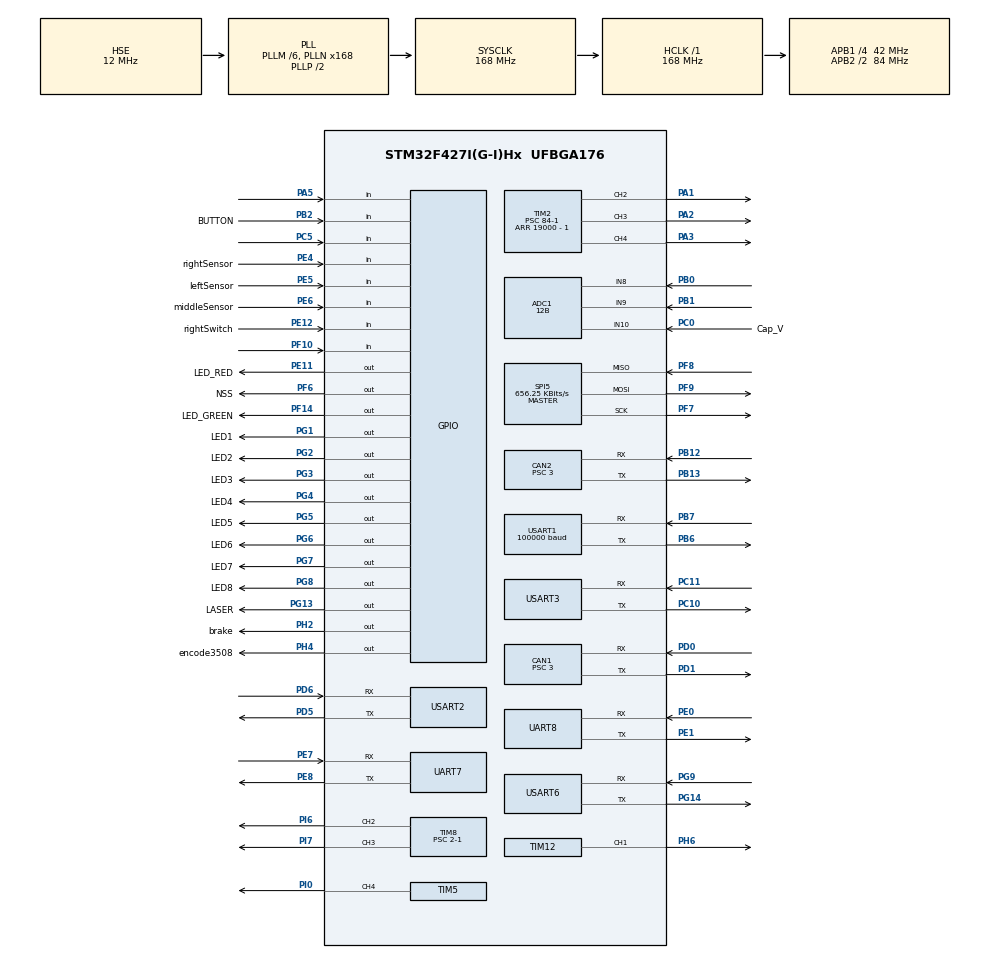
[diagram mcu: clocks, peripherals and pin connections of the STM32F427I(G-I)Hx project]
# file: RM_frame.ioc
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ADC1.Channel-0\#ChannelRegularConversion=ADC_CHANNEL_VREFINT
ADC1.Channel-1\#ChannelRegularConversion=ADC_CHANNEL_8
ADC1.Channel-2\#ChannelRegularConversion=ADC_CHANNEL_9
ADC1.Channel-3\#ChannelRegularConversion=ADC_CHANNEL_10
ADC1.ClockPrescaler=ADC_CLOCK_SYNC_PCLK_DIV4
ADC1.ContinuousConvMode=ENABLE
ADC1.DMAContinuousRequests=ENABLE
ADC1.DataAlign=ADC_DATAALIGN_RIGHT
ADC1.DiscontinuousConvMode=DISABLE
ADC1.EOCSelection=ADC_EOC_SINGLE_CONV
ADC1.EnableAnalogWatchDog=false
ADC1.ExternalTrigConv=ADC_SOFTWARE_START
ADC1.ExternalTrigConvEdge=ADC_EXTERNALTRIGCONVEDGE_NONE
ADC1.InjNumberOfConversion=0
ADC1.NbrOfConversion=4
ADC1.NbrOfConversionFlag=1
ADC1.Rank-0\#ChannelRegularConversion=1
ADC1.Rank-1\#ChannelRegularConversion=2
ADC1.Rank-2\#ChannelRegularConversion=3
ADC1.Rank-3\#ChannelRegularConversion=4
ADC1.Resolution=ADC_RESOLUTION_12B
ADC1.SamplingTime-0\#ChannelRegularConversion=ADC_SAMPLETIME_56CYCLES
ADC1.SamplingTime-1\#ChannelRegularConversion=ADC_SAMPLETIME_56CYCLES
ADC1.SamplingTime-2\#ChannelRegularConversion=ADC_SAMPLETIME_56CYCLES
ADC1.SamplingTime-3\#ChannelRegularConversion=ADC_SAMPLETIME_56CYCLES
ADC1.ScanConvMode=ENABLE
ADC1.master=1
CAN1.BS1=CAN_BS1_9TQ
CAN1.BS2=CAN_BS2_4TQ
CAN1.CalculateTimeBit=1000
CAN1.CalculateTimeQuantum=71.42857142857143
CAN1.Prescaler=3
CAN2.BS1=CAN_BS1_9TQ
CAN2.BS2=CAN_BS2_4TQ
CAN2.CalculateTimeBit=1000
CAN2.CalculateTimeQuantum=71.42857142857143
CAN2.Prescaler=3
Dma.ADC1.8.Direction=DMA_PERIPH_TO_MEMORY
Dma.ADC1.8.FIFOMode=DMA_FIFOMODE_DISABLE
Dma.ADC1.8.Instance=DMA2_Stream0
Dma.ADC1.8.MemDataAlignment=DMA_MDATAALIGN_WORD
Dma.ADC1.8.MemInc=DMA_MINC_ENABLE
Dma.ADC1.8.Mode=DMA_CIRCULAR
Dma.ADC1.8.PeriphDataAlignment=DMA_PDATAALIGN_WORD
Dma.ADC1.8.PeriphInc=DMA_PINC_DISABLE
Dma.ADC1.8.Priority=DMA_PRIORITY_LOW
Dma.Request0=USART6_RX
Dma.Request1=USART6_TX
Dma.Request2=USART3_RX
Dma.Request3=USART2_RX
Dma.Request4=USART1_RX
Dma.Request5=UART8_RX
Dma.Request6=UART8_TX
Dma.Request7=UART7_RX
Dma.Request8=ADC1
Dma.UART7_RX.7.Direction=DMA_PERIPH_TO_MEMORY
Dma.UART7_RX.7.FIFOMode=DMA_FIFOMODE_DISABLE
Dma.UART7_RX.7.Instance=DMA1_Stream3
Dma.UART7_RX.7.MemDataAlignment=DMA_MDATAALIGN_BYTE
Dma.UART7_RX.7.MemInc=DMA_MINC_ENABLE
Dma.UART7_RX.7.Mode=DMA_NORMAL
Dma.UART7_RX.7.PeriphDataAlignment=DMA_PDATAALIGN_BYTE
Dma.UART7_RX.7.PeriphInc=DMA_PINC_DISABLE
Dma.UART7_RX.7.Priority=DMA_PRIORITY_LOW
Dma.UART8_RX.5.Direction=DMA_PERIPH_TO_MEMORY
Dma.UART8_RX.5.FIFOMode=DMA_FIFOMODE_DISABLE
Dma.UART8_RX.5.Instance=DMA1_Stream6
Dma.UART8_RX.5.MemDataAlignment=DMA_MDATAALIGN_BYTE
Dma.UART8_RX.5.MemInc=DMA_MINC_ENABLE
Dma.UART8_RX.5.Mode=DMA_NORMAL
Dma.UART8_RX.5.PeriphDataAlignment=DMA_PDATAALIGN_BYTE
Dma.UART8_RX.5.PeriphInc=DMA_PINC_DISABLE
Dma.UART8_RX.5.Priority=DMA_PRIORITY_LOW
Dma.UART8_TX.6.Direction=DMA_MEMORY_TO_PERIPH
Dma.UART8_TX.6.FIFOMode=DMA_FIFOMODE_DISABLE
Dma.UART8_TX.6.Instance=DMA1_Stream0
Dma.UART8_TX.6.MemDataAlignment=DMA_MDATAALIGN_BYTE
Dma.UART8_TX.6.MemInc=DMA_MINC_ENABLE
Dma.UART8_TX.6.Mode=DMA_NORMAL
Dma.UART8_TX.6.PeriphDataAlignment=DMA_PDATAALIGN_BYTE
Dma.UART8_TX.6.PeriphInc=DMA_PINC_DISABLE
Dma.UART8_TX.6.Priority=DMA_PRIORITY_LOW
Dma.USART1_RX.4.Direction=DMA_PERIPH_TO_MEMORY
Dma.USART1_RX.4.FIFOMode=DMA_FIFOMODE_DISABLE
Dma.USART1_RX.4.Instance=DMA2_Stream2
Dma.USART1_RX.4.MemDataAlignment=DMA_MDATAALIGN_BYTE
Dma.USART1_RX.4.MemInc=DMA_MINC_ENABLE
Dma.USART1_RX.4.Mode=DMA_NORMAL
Dma.USART1_RX.4.PeriphDataAlignment=DMA_PDATAALIGN_BYTE
Dma.USART1_RX.4.PeriphInc=DMA_PINC_DISABLE
Dma.USART1_RX.4.Priority=DMA_PRIORITY_LOW
Dma.USART2_RX.3.Direction=DMA_PERIPH_TO_MEMORY
Dma.USART2_RX.3.FIFOMode=DMA_FIFOMODE_DISABLE
Dma.USART2_RX.3.Instance=DMA1_Stream5
Dma.USART2_RX.3.MemDataAlignment=DMA_MDATAALIGN_BYTE
Dma.USART2_RX.3.MemInc=DMA_MINC_ENABLE
Dma.USART2_RX.3.Mode=DMA_NORMAL
Dma.USART2_RX.3.PeriphDataAlignment=DMA_PDATAALIGN_BYTE
Dma.USART2_RX.3.PeriphInc=DMA_PINC_DISABLE
Dma.USART2_RX.3.Priority=DMA_PRIORITY_LOW
Dma.USART3_RX.2.Direction=DMA_PERIPH_TO_MEMORY
Dma.USART3_RX.2.FIFOMode=DMA_FIFOMODE_DISABLE
Dma.USART3_RX.2.Instance=DMA1_Stream1
Dma.USART3_RX.2.MemDataAlignment=DMA_MDATAALIGN_BYTE
Dma.USART3_RX.2.MemInc=DMA_MINC_ENABLE
Dma.USART3_RX.2.Mode=DMA_NORMAL
Dma.USART3_RX.2.PeriphDataAlignment=DMA_PDATAALIGN_BYTE
Dma.USART3_RX.2.PeriphInc=DMA_PINC_DISABLE
Dma.USART3_RX.2.Priority=DMA_PRIORITY_LOW
Dma.USART6_RX.0.Direction=DMA_PERIPH_TO_MEMORY
Dma.USART6_RX.0.FIFOMode=DMA_FIFOMODE_DISABLE
Dma.USART6_RX.0.Instance=DMA2_Stream1
Dma.USART6_RX.0.MemDataAlignment=DMA_MDATAALIGN_BYTE
Dma.USART6_RX.0.MemInc=DMA_MINC_ENABLE
Dma.USART6_RX.0.Mode=DMA_NORMAL
Dma.USART6_RX.0.PeriphDataAlignment=DMA_PDATAALIGN_BYTE
Dma.USART6_RX.0.PeriphInc=DMA_PINC_DISABLE
Dma.USART6_RX.0.Priority=DMA_PRIORITY_LOW
Dma.USART6_TX.1.Direction=DMA_MEMORY_TO_PERIPH
Dma.USART6_TX.1.FIFOMode=DMA_FIFOMODE_DISABLE
Dma.USART6_TX.1.Instance=DMA2_Stream6
Dma.USART6_TX.1.MemDataAlignment=DMA_MDATAALIGN_BYTE
Dma.USART6_TX.1.MemInc=DMA_MINC_ENABLE
Dma.USART6_TX.1.Mode=DMA_NORMAL
Dma.USART6_TX.1.PeriphDataAlignment=DMA_PDATAALIGN_BYTE
Dma.USART6_TX.1.PeriphInc=DMA_PINC_DISABLE
Dma.USART6_TX.1.Priority=DMA_PRIORITY_LOW
IWDG.Prescaler=IWDG_PRESCALER_32
IWDG.Reload=300
Mcu.Family=STM32F4
Mcu.Name=STM32F427I(G-I)Hx
Mcu.Package=UFBGA176
NVIC.CAN1_RX0_IRQn=true\:0\:0\:true\:false\:true\:true
NVIC.CAN1_TX_IRQn=true\:0\:0\:true\:false\:true\:true
NVIC.CAN2_RX0_IRQn=true\:1\:0\:true\:false\:true\:true
NVIC.CAN2_TX_IRQn=true\:2\:0\:true\:false\:true\:true
NVIC.DMA1_Stream0_IRQn=true\:0\:0\:false\:false\:true\:false
NVIC.DMA1_Stream1_IRQn=true\:0\:0\:false\:false\:true\:false
NVIC.DMA1_Stream3_IRQn=true\:0\:0\:false\:false\:true\:false
NVIC.DMA1_Stream5_IRQn=true\:0\:0\:false\:false\:true\:false
NVIC.DMA1_Stream6_IRQn=true\:0\:0\:false\:false\:true\:false
NVIC.DMA2_Stream0_IRQn=true\:0\:0\:false\:false\:true\:false
NVIC.DMA2_Stream1_IRQn=true\:0\:0\:false\:false\:true\:false
NVIC.DMA2_Stream2_IRQn=true\:0\:0\:false\:false\:true\:false
NVIC.DMA2_Stream6_IRQn=true\:0\:0\:false\:false\:true\:false
NVIC.PriorityGroup=NVIC_PRIORITYGROUP_4
NVIC.TIM1_UP_TIM10_IRQn=true\:4\:0\:true\:false\:true\:true
NVIC.TIM6_DAC_IRQn=true\:3\:0\:true\:false\:true\:true
NVIC.TIM7_IRQn=true\:0\:0\:true\:false\:true\:true
NVIC.UART7_IRQn=true\:0\:0\:false\:false\:true\:true
NVIC.UART8_IRQn=true\:4\:0\:true\:false\:true\:true
NVIC.USART1_IRQn=true\:0\:0\:true\:false\:true\:true
NVIC.USART2_IRQn=true\:0\:0\:false\:false\:true\:true
NVIC.USART3_IRQn=true\:0\:0\:false\:false\:true\:true
NVIC.USART6_IRQn=true\:1\:0\:true\:false\:true\:true
PA1.Signal=S_TIM2_CH2
PA2.Signal=S_TIM2_CH3
PA3.Signal=S_TIM2_CH4
PA5.Signal=GPIO_Input
PB0.Signal=ADCx_IN8
PB1.Signal=ADCx_IN9
PB12.Mode=Slave
PB12.Signal=CAN2_RX
PB13.Mode=Slave
PB13.Signal=CAN2_TX
PB2/BOOT1.GPIO_Label=BUTTON
PB2/BOOT1.Signal=GPIO_Input
PB6.Mode=Asynchronous
PB6.Signal=USART1_TX
PB7.Mode=Asynchronous
PB7.Signal=USART1_RX
PC0.GPIO_Label=Cap_V
PC0.Signal=ADCx_IN10
PC10.Mode=Asynchronous
PC10.Signal=USART3_TX
PC11.Mode=Asynchronous
PC11.Signal=USART3_RX
PC5.Signal=GPIO_Input
PD0.Mode=Master
PD0.Signal=CAN1_RX
PD1.Mode=Master
PD1.Signal=CAN1_TX
PD5.Mode=Asynchronous
PD5.Signal=USART2_TX
PD6.Mode=Asynchronous
PD6.Signal=USART2_RX
PE0.Mode=Asynchronous
PE0.Signal=UART8_RX
PE1.Mode=Asynchronous
PE1.Signal=UART8_TX
PE11.GPIO_Label=LED_RED
PE11.Signal=GPIO_Output
PE12.GPIO_Label=rightSwitch
PE12.GPIO_PuPd=GPIO_PULLUP
PE12.Signal=GPIO_Input
PE4.GPIO_Label=rightSensor
PE4.GPIO_PuPd=GPIO_PULLUP
PE4.Signal=GPIO_Input
PE5.GPIO_Label=leftSensor
PE5.GPIO_PuPd=GPIO_PULLUP
PE5.Signal=GPIO_Input
PE6.GPIO_Label=middleSensor
PE6.GPIO_PuPd=GPIO_PULLUP
PE6.Signal=GPIO_Input
PE7.Mode=Asynchronous
PE7.Signal=UART7_RX
PE8.Mode=Asynchronous
PE8.Signal=UART7_TX
PF10.Signal=GPIO_Input
PF14.GPIO_Label=LED_GREEN
PF14.Signal=GPIO_Output
PF6.GPIO_Label=NSS
PF6.Signal=GPIO_Output
PF7.Mode=Full_Duplex_Master
PF7.Signal=SPI5_SCK
PF8.Mode=Full_Duplex_Master
PF8.Signal=SPI5_MISO
PF9.Mode=Full_Duplex_Master
PF9.Signal=SPI5_MOSI
PG1.GPIO_Label=LED1
PG1.GPIO_PuPd=GPIO_NOPULL
PG1.PinState=GPIO_PIN_SET
PG1.Signal=GPIO_Output
PG13.GPIO_Label=LASER
PG13.PinState=GPIO_PIN_SET
PG13.Signal=GPIO_Output
PG14.Mode=Asynchronous
PG14.Signal=USART6_TX
PG2.GPIO_Label=LED2
PG2.GPIO_PuPd=GPIO_NOPULL
PG2.PinState=GPIO_PIN_SET
PG2.Signal=GPIO_Output
PG3.GPIO_Label=LED3
PG3.PinState=GPIO_PIN_SET
PG3.Signal=GPIO_Output
PG4.GPIO_Label=LED4
PG4.PinState=GPIO_PIN_SET
PG4.Signal=GPIO_Output
PG5.GPIO_Label=LED5
PG5.PinState=GPIO_PIN_SET
PG5.Signal=GPIO_Output
PG6.GPIO_Label=LED6
PG6.PinState=GPIO_PIN_SET
PG6.Signal=GPIO_Output
PG7.GPIO_Label=LED7
PG7.PinState=GPIO_PIN_SET
PG7.Signal=GPIO_Output
PG8.GPIO_Label=LED8
PG8.PinState=GPIO_PIN_SET
PG8.Signal=GPIO_Output
PG9.Mode=Asynchronous
PG9.Signal=USART6_RX
PH0/OSC_IN.Mode=HSE-External-Oscillator
PH0/OSC_IN.Signal=RCC_OSC_IN
PH1/OSC_OUT.Mode=HSE-External-Oscillator
PH1/OSC_OUT.Signal=RCC_OSC_OUT
PH2.GPIO_Label=brake
PH2.Signal=GPIO_Output
PH4.GPIO_Label=encode3508
PH4.PinState=GPIO_PIN_SET
PH4.Signal=GPIO_Output
PH6.Signal=S_TIM12_CH1
PI0.Signal=S_TIM5_CH4
PI6.Signal=S_TIM8_CH2
PI7.Signal=S_TIM8_CH3
ProjectManager.HeapSize=0x200
ProjectManager.StackSize=0x400
ProjectManager.TargetToolchain=MDK-ARM V5
RCC.48MHZClocksFreq_Value=84000000
RCC.AHBFreq_Value=168000000
RCC.APB1CLKDivider=RCC_HCLK_DIV4
RCC.APB1Freq_Value=42000000
RCC.APB1TimFreq_Value=84000000
RCC.APB2CLKDivider=RCC_HCLK_DIV2
RCC.APB2Freq_Value=84000000
RCC.APB2TimFreq_Value=168000000
RCC.CortexFreq_Value=168000000
RCC.HCLKFreq_Value=168000000
RCC.HSE_VALUE=12000000
RCC.HSI_VALUE=16000000
RCC.LSE_VALUE=32768
RCC.PLLM=6
RCC.PLLN=168
RCC.PLLSourceVirtual=RCC_PLLSOURCE_HSE
RCC.SYSCLKFreq_VALUE=168000000
RCC.SYSCLKSource=RCC_SYSCLKSOURCE_PLLCLK
RCC.VCOOutputFreq_Value=336000000
SH.ADCx_IN10.0=ADC1_IN10,IN10
SH.ADCx_IN8.0=ADC1_IN8,IN8
SH.ADCx_IN9.0=ADC1_IN9,IN9
SH.S_TIM12_CH1.0=TIM12_CH1,PWM Generation1 CH1
SH.S_TIM2_CH2.0=TIM2_CH2,PWM Generation2 CH2
SH.S_TIM2_CH3.0=TIM2_CH3,PWM Generation3 CH3
SH.S_TIM2_CH4.0=TIM2_CH4,PWM Generation4 CH4
SH.S_TIM5_CH4.0=TIM5_CH4,PWM Generation4 CH4
SH.S_TIM8_CH2.0=TIM8_CH2,PWM Generation2 CH2
SH.S_TIM8_CH3.0=TIM8_CH3,PWM Generation3 CH3
SPI5.BaudRatePrescaler=SPI_BAUDRATEPRESCALER_128
SPI5.CalculateBaudRate=656.25 KBits/s
SPI5.Direction=SPI_DIRECTION_2LINES
SPI5.Mode=SPI_MODE_MASTER
SPI5.VirtualType=VM_MASTER
TIM10.Period=10000
TIM10.Prescaler=168-1
TIM12.Channel-PWM\ Generation1\ CH1=TIM_CHANNEL_1
TIM12.Period=2500-1
TIM12.Prescaler=84-1
TIM12.Pulse-PWM\ Generation1\ CH1=1000
TIM2.Channel-PWM\ Generation2\ CH2=TIM_CHANNEL_2
TIM2.Channel-PWM\ Generation3\ CH3=TIM_CHANNEL_3
TIM2.Channel-PWM\ Generation4\ CH4=TIM_CHANNEL_4
TIM2.Period=19000 - 1
TIM2.Prescaler=84-1
TIM5.Channel-PWM\ Generation4\ CH4=TIM_CHANNEL_4
TIM5.Period=1000000
TIM5.Prescaler=84-1
TIM5.Pulse-PWM\ Generation4\ CH4=1000
TIM6.Period=2000
TIM6.Prescaler=84-1
TIM7.Period=1000
TIM7.Prescaler=84-1
TIM8.Channel-PWM\ Generation2\ CH2=TIM_CHANNEL_2
TIM8.Channel-PWM\ Generation3\ CH3=TIM_CHANNEL_3
TIM8.Period=42000-1
TIM8.Prescaler=2-1
UART7.VirtualMode=Asynchronous
UART8.VirtualMode=Asynchronous
USART1.BaudRate=100000
USART1.Mode=MODE_RX
USART1.Parity=PARITY_EVEN
USART1.VirtualMode=VM_ASYNC
USART1.WordLength=WORDLENGTH_9B
USART2.VirtualMode=VM_ASYNC
USART3.VirtualMode=VM_ASYNC
USART6.VirtualMode=VM_ASYNC
VP_ADC1_Vref_Input.Mode=IN-Vrefint
VP_IWDG_VS_IWDG.Mode=IWDG_Activate
VP_TIM10_VS_ClockSourceINT.Mode=Enable_Timer
VP_TIM12_VS_ClockSourceINT.Mode=Internal
VP_TIM2_VS_ClockSourceINT.Mode=Internal
VP_TIM6_VS_ClockSourceINT.Mode=Enable_Timer
VP_TIM7_VS_ClockSourceINT.Mode=Enable_Timer
board=RM_frame

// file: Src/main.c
/**
  ******************************************************************************
  * File Name          : main.c
  * Description        : Main program body
  ******************************************************************************
  ** This notice applies to any and all portions of this file
  * that are not between comment pairs USER CODE BEGIN and
  * USER CODE END. Other portions of this file, whether
  * inserted by the user or by software development tools
  * are owned by their respective copyright owners.
  *
  * COPYRIGHT(c) 2019 STMicroelectronics
  *
  * Redistribution and use in source and binary forms, with or without modification,
  * are permitted provided that the following conditions are met:
  *   1. Redistributions of source code must retain the above copyright notice,
  *      this list of conditions and the following disclaimer.
  *   2. Redistributions in binary form must reproduce the above copyright notice,
  *      this list of conditions and the following disclaimer in the documentation
  *      and/or other materials provided with the distribution.
  *   3. Neither the name of STMicroelectronics nor the names of its contributors
  *      may be used to endorse or promote products derived from this software
  *      without specific prior written permission.
  *
  * THIS SOFTWARE IS PROVIDED BY THE COPYRIGHT HOLDERS AND CONTRIBUTORS "AS IS"
  * AND ANY EXPRESS OR IMPLIED WARRANTIES, INCLUDING, BUT NOT LIMITED TO, THE
  * IMPLIED WARRANTIES OF MERCHANTABILITY AND FITNESS FOR A PARTICULAR PURPOSE ARE
  * DISCLAIMED. IN NO EVENT SHALL THE COPYRIGHT HOLDER OR CONTRIBUTORS BE LIABLE
  * FOR ANY DIRECT, INDIRECT, INCIDENTAL, SPECIAL, EXEMPLARY, OR CONSEQUENTIAL
  * DAMAGES (INCLUDING, BUT NOT LIMITED TO, PROCUREMENT OF SUBSTITUTE GOODS OR
  * SERVICES; LOSS OF USE, DATA, OR PROFITS; OR BUSINESS INTERRUPTION) HOWEVER
  * CAUSED AND ON ANY THEORY OF LIABILITY, WHETHER IN CONTRACT, STRICT LIABILITY,
  * OR TORT (INCLUDING NEGLIGENCE OR OTHERWISE) ARISING IN ANY WAY OUT OF THE USE
  * OF THIS SOFTWARE, EVEN IF ADVISED OF THE POSSIBILITY OF SUCH DAMAGE.
  *
  ******************************************************************************
  */

#include "main.h"
#include "stm32f4xx_hal.h"
#include "adc.h"
#include "can.h"
#include "dma.h"
#include "iwdg.h"
#include "spi.h"
#include "tim.h"
#include "usart.h"
#include "gpio.h"

/* USER CODE BEGIN Includes */
#include "includes.h"
/* USER CODE END Includes */

/* USER CODE BEGIN PV */
uint32_t ADC_Value[160];
/* Private variables ---------------------------------------------------------*/

/* USER CODE END PV */

void SystemClock_Config(void);

/* USER CODE BEGIN PFP */
/* Private function prototypes -----------------------------------------------*/

/* USER CODE END PFP */

/* USER CODE BEGIN 0 */
int can13Dog=1000;//@yyp
/* USER CODE END 0 */

int main(void)
{

  /* MCU Configuration----------------------------------------------------------*/

  /* Reset of all peripherals, Initializes the Flash interface and the Systick. */

  HAL_Init();

  /* Configure the system clock */
  SystemClock_Config();

  /* USER CODE BEGIN SysInit */
	HAL_NVIC_DisableIRQ(USART2_IRQn);
	HAL_NVIC_DisableIRQ(USART3_IRQn);
	HAL_NVIC_DisableIRQ(USART6_IRQn);
	HAL_NVIC_DisableIRQ(DMA1_Stream1_IRQn);
	HAL_NVIC_DisableIRQ(DMA1_Stream5_IRQn);
	HAL_NVIC_DisableIRQ(DMA2_Stream1_IRQn);
	HAL_NVIC_DisableIRQ(CAN1_RX0_IRQn);
	HAL_NVIC_DisableIRQ(CAN2_RX0_IRQn);
	HAL_NVIC_DisableIRQ(USART1_IRQn);
	HAL_NVIC_DisableIRQ(DMA2_Stream2_IRQn);
	HAL_NVIC_DisableIRQ(TIM7_IRQn);
	HAL_NVIC_DisableIRQ(TIM6_DAC_IRQn);
  /* USER CODE END SysInit */

  /* Initialize all configured peripherals */
  MX_GPIO_Init();
  MX_DMA_Init();
  MX_CAN1_Init();
  MX_CAN2_Init();
  MX_SPI5_Init();
  MX_USART1_UART_Init();
  MX_TIM6_Init();
  MX_TIM12_Init();
  MX_USART6_UART_Init();
  MX_TIM7_Init();
  MX_TIM10_Init();
  MX_TIM2_Init();
  //MX_IWDG_Init();
  MX_TIM5_Init();
  MX_USART3_UART_Init();
  MX_UART7_Init();
  MX_ADC1_Init();
  MX_UART8_Init();
  MX_USART2_UART_Init();
  MX_TIM8_Init();

  /* USER CODE BEGIN 2 */
//各模块初始化
	//电机控制
	Motor_ID_Setting();
	for(int i=0;i<8;i++) {InitMotor(can1[i]);InitMotor(can2[i]);}
	InitCanReception();

	//串口
	#ifdef USE_AUTOAIM
		HAL_GPIO_WritePin(encode3508_GPIO_Port, encode3508_Pin, 0);
		InitAutoAim();
	#endif
	InitRemoteControl();
	InitJudgeUart();
	#ifdef USE_IMU
		mpu_device_init();
		init_quaternion();
	#else
		imu.InitFinish=1;
	#endif

	//计时器
	HAL_TIM_Base_Start_IT(&ONE_MS_TIM);
	HAL_TIM_Base_Start_IT(&TWO_MS_TIM);
//	HAL_TIM_Base_Start_IT(&TEN_MS_TIM);

	//中断
	HAL_NVIC_EnableIRQ(CAN1_RX0_IRQn);
	HAL_NVIC_EnableIRQ(CAN2_RX0_IRQn);
	HAL_NVIC_EnableIRQ(USART1_IRQn);
	HAL_NVIC_EnableIRQ(DMA2_Stream2_IRQn);
	HAL_NVIC_EnableIRQ(TIM6_DAC_IRQn);
	HAL_NVIC_EnableIRQ(TIM7_IRQn);

	//ADC
	HAL_ADC_Start_DMA(&hadc1,(uint32_t*)&ADC_Value,160);

	//看门狗
	MX_IWDG_Init();	//Cube配置完记得注释掉上面自动生成的看门狗初始化函数
	HAL_GPIO_WritePin(GPIOG, 0x1ff, GPIO_PIN_SET);//close all LED
  /* USER CODE END 2 */

  /* Infinite loop */
  while (1)
  {

  }

}

/** System Clock Configuration
*/
void SystemClock_Config(void)
{

  RCC_OscInitTypeDef RCC_OscInitStruct;
  RCC_ClkInitTypeDef RCC_ClkInitStruct;

    /**Configure the main internal regulator output voltage
    */
  __HAL_RCC_PWR_CLK_ENABLE();

  __HAL_PWR_VOLTAGESCALING_CONFIG(PWR_REGULATOR_VOLTAGE_SCALE1);

    /**Initializes the CPU, AHB and APB busses clocks
    */
  RCC_OscInitStruct.OscillatorType = RCC_OSCILLATORTYPE_LSI|RCC_OSCILLATORTYPE_HSE;
  RCC_OscInitStruct.HSEState = RCC_HSE_ON;
  RCC_OscInitStruct.LSIState = RCC_LSI_ON;
  RCC_OscInitStruct.PLL.PLLState = RCC_PLL_ON;
  RCC_OscInitStruct.PLL.PLLSource = RCC_PLLSOURCE_HSE;
  RCC_OscInitStruct.PLL.PLLM = 6;
  RCC_OscInitStruct.PLL.PLLN = 168;
  RCC_OscInitStruct.PLL.PLLP = RCC_PLLP_DIV2;
  RCC_OscInitStruct.PLL.PLLQ = 4;
  if (HAL_RCC_OscConfig(&RCC_OscInitStruct) != HAL_OK)
  {
    _Error_Handler(__FILE__, __LINE__);
  }

    /**Initializes the CPU, AHB and APB busses clocks
    */
  RCC_ClkInitStruct.ClockType = RCC_CLOCKTYPE_HCLK|RCC_CLOCKTYPE_SYSCLK
                              |RCC_CLOCKTYPE_PCLK1|RCC_CLOCKTYPE_PCLK2;
  RCC_ClkInitStruct.SYSCLKSource = RCC_SYSCLKSOURCE_PLLCLK;
  RCC_ClkInitStruct.AHBCLKDivider = RCC_SYSCLK_DIV1;
  RCC_ClkInitStruct.APB1CLKDivider = RCC_HCLK_DIV4;
  RCC_ClkInitStruct.APB2CLKDivider = RCC_HCLK_DIV2;

  if (HAL_RCC_ClockConfig(&RCC_ClkInitStruct, FLASH_LATENCY_5) != HAL_OK)
  {
    _Error_Handler(__FILE__, __LINE__);
  }

    /**Configure the Systick interrupt time
    */
  HAL_SYSTICK_Config(HAL_RCC_GetHCLKFreq()/1000);

    /**Configure the Systick
    */
  HAL_SYSTICK_CLKSourceConfig(SYSTICK_CLKSOURCE_HCLK);

  /* SysTick_IRQn interrupt configuration */
  HAL_NVIC_SetPriority(SysTick_IRQn, 0, 0);
}

void _Error_Handler(char * file, int line)
{
  while(1)
  {
  }
}

/************************ (C) COPYRIGHT STMicroelectronics *****END OF FILE****/
